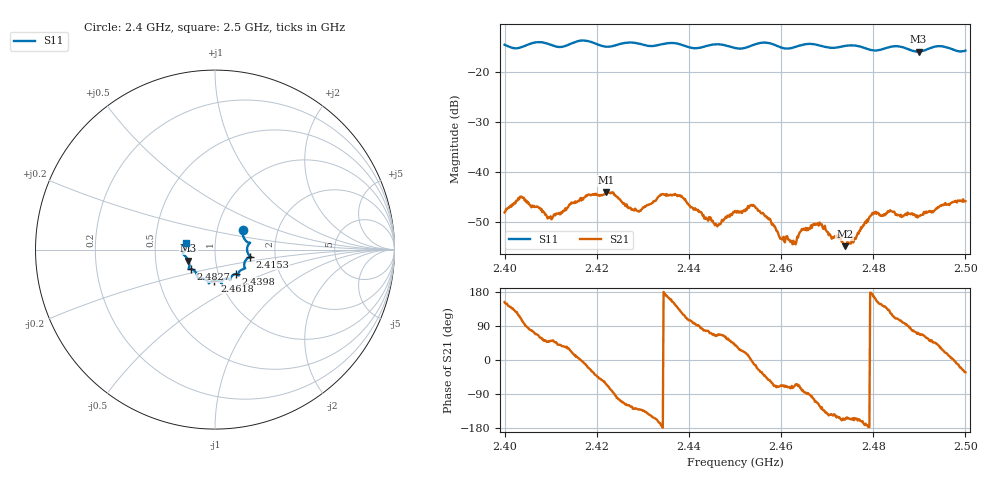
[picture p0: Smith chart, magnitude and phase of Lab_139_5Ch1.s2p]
# Hz S RI R 50
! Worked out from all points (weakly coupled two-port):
!   601 points, 2.4 GHz to 2.5 GHz, reference 50 ohm
!   highest |S21| = -44.08 dB at 2.422 GHz (marker M1); lowest = -54.9 dB at 2.4738 GHz (marker M2)
!   lowest |S11| = -15.9 dB at 2.4898 GHz (marker M3), VSWR 1.38, Z = 36.8 - j4.6 ohm
!   |S11| at or under -10 dB: start of sweep to end of sweep
!   S12 and S22 are empty: the file has one direction only
!   S11 on the Smith chart (normalised r, x): 2.4 GHz: 1.33, +0.29; 2.4153 GHz: 1.48, -0.12; 2.4398 GHz: 1.21, -0.34; 2.4618 GHz: 0.94, -0.33; 2.4827 GHz: 0.75, -0.17; 2.5 GHz: 0.72, +0.06
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2.4e9  0.1549 0.1064  -0.00348 0.00179  0 0  0 0
2.403667e9  0.1706 0.0508  -0.00163 0.0054  0 0  0 0
2.409833e9  0.1868 0.0287  0.00225 0.00263  0 0  0 0
2.415333e9  0.1967 -0.039  0.00493 0.00115  0 0  0 0
2.416667e9  0.2026 -0.0431  0.00515 -0.00014  0 0  0 0
2.422e9  0.1677 -0.0643  0.0028 -0.00559  0 0  0 0
2.429e9  0.1619 -0.1064  -0.00263 -0.00307  0 0  0 0
2.433333e9  0.1298 -0.1342  -0.00534 -0.00166  0 0  0 0
2.4375e9  0.1306 -0.142  -0.0043 0.00374  0 0  0 0
2.439833e9  0.1153 -0.136  -0.00136 0.00458  0 0  0 0
2.446e9  0.0841 -0.1706  0.00128 0.00262  0 0  0 0
2.45e9  0.0651 -0.1618  0.00316 0.00253  0 0  0 0
2.454e9  0.0356 -0.184  0.00459 -0.000738  0 0  0 0
2.461833e9  -0.00309 -0.1728  0.000667 -0.00196  0 0  0 0
2.466667e9  -0.0346 -0.1882  -0.000274 -0.00272  0 0  0 0
2.468333e9  -0.037 -0.1813  -0.00161 -0.00266  0 0  0 0
2.473833e9  -0.0876 -0.1604  -0.00163 -0.000751  0 0  0 0
2.48e9  -0.1099 -0.1231  -0.00367 0.000813  0 0  0 0
2.482667e9  -0.1351 -0.1086  -0.00284 0.0024  0 0  0 0
2.483333e9  -0.1402 -0.1083  -0.0027 0.00297  0 0  0 0
2.489833e9  -0.1483 -0.0609  0.00131 0.00333  0 0  0 0
2.5e9  -0.1592 0.0392  0.00427 -0.00273  0 0  0 0
